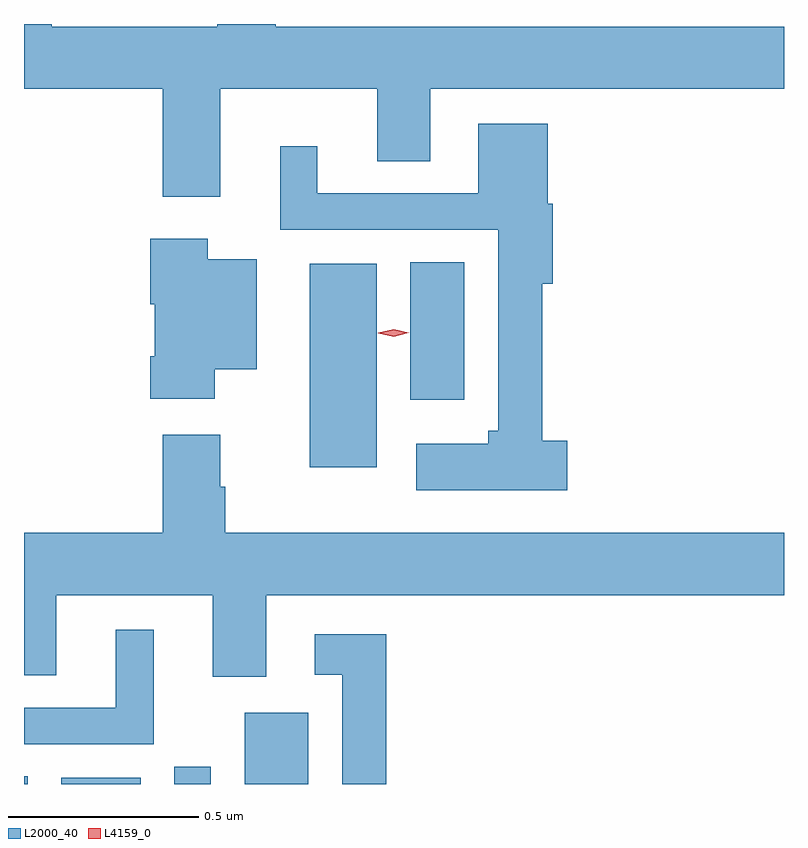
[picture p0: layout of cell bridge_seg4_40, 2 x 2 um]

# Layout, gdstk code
import gdstk
lib = gdstk.Library(unit=1e-6, precision=1e-09)
def R(c, l, rs):  # rectangles x0, y0, x1, y1
    for r in rs: c.add(gdstk.rectangle(r[:2], r[2:], *l))
def P(c, l, *ps):  # polygons
    for p in ps: c.add(gdstk.Polygon(p, *l))
L2000_40 = (2000, 40)
L4159_0 = (4159, 0)

bridge_seg4_40 = lib.new_cell('bridge_seg4_40')
R(bridge_seg4_40, L2000_40, [(678.486,810.975,678.496,810.995), (678.584,810.975,678.793,810.991), (678.882,810.975,678.978,811.021), (679.067,810.975,679.234,811.162), (679.238,811.808,679.414,812.344), (679.502,811.986,679.645,812.348)])
P(bridge_seg4_40, L2000_40, [(679.003,812.804),(679.415,812.804),(679.415,812.614),(679.555,812.614),(679.555,812.804),(680.486,812.804),(680.486,812.968),(679.148,812.968),(679.148,812.975),(678.995,812.975),(678.995,812.968),(678.559,812.968),(678.559,812.975),(678.486,812.975),(678.486,812.804),(678.851,812.804),(678.851,812.52),(679.003,812.52)],
  [(679.915,811.878),(679.85,811.878),(679.85,812.291),(679.877,812.291),(679.877,812.502),(679.864,812.502),(679.864,812.713),(679.682,812.713),(679.682,812.529),(679.258,812.529),(679.258,812.653),(679.16,812.653),(679.16,812.433),(679.734,812.433),(679.734,811.905),(679.708,811.905),(679.708,811.87),(679.518,811.87),(679.518,811.748),(679.915,811.748)],
  [(678.988,812.066),(679.099,812.066),(679.099,812.356),(678.97,812.356),(678.97,812.41),(678.818,812.41),(678.818,812.237),(678.83,812.237),(678.83,812.101),(678.818,812.101),(678.818,811.989),(678.988,811.989)],
  [(679.123,811.472),(680.486,811.472),(680.486,811.636),(679.016,811.636),(679.016,811.757),(679.003,811.757),(679.003,811.894),(678.851,811.894),(678.851,811.636),(678.486,811.636),(678.486,811.261),(678.571,811.261),(678.571,811.472),(678.983,811.472),(678.983,811.257),(679.123,811.257)],
  [(678.827,811.381),(678.728,811.381),(678.728,811.176),(678.486,811.176),(678.486,811.08),(678.827,811.08)],
  [(679.439,811.369),(679.251,811.369),(679.251,811.263),(679.323,811.263),(679.323,810.975),(679.439,810.975)])
P(bridge_seg4_40, L4159_0, [(679.459,812.152),(679.418,812.161),(679.418,812.162),(679.418,812.162),(679.459,812.172),(679.499,812.162),(679.499,812.162),(679.499,812.162)])

lib.write_gds('bridge_seg4_40.gds')
